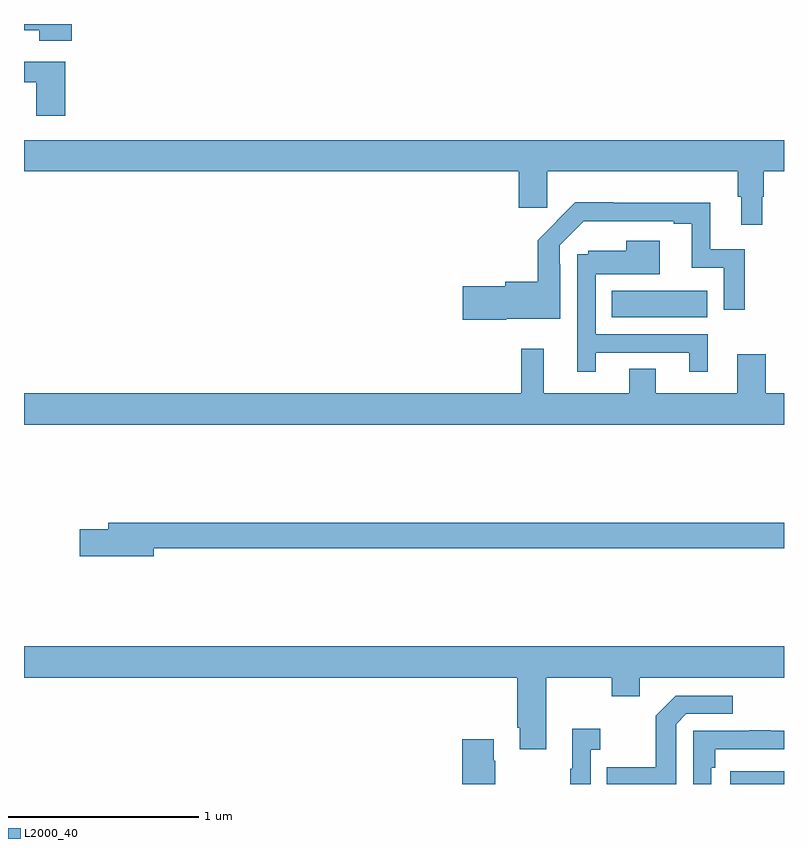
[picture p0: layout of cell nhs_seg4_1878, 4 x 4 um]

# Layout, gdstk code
import gdstk
lib = gdstk.Library(unit=1e-6, precision=1e-09)
def R(c, l, rs):  # rectangles x0, y0, x1, y1
    for r in rs: c.add(gdstk.rectangle(r[:2], r[2:], *l))
def P(c, l, *ps):  # polygons
    for p in ps: c.add(gdstk.Polygon(p, *l))
L2000_40 = (2000, 40)

nhs_seg4_1878 = lib.new_cell('nhs_seg4_1878')
R(nhs_seg4_1878, L2000_40, [(210.717,822.9,211,822.966), (210.094,825.356,210.595,825.496)])
P(nhs_seg4_1878, L2000_40, [(207.251,826.9),(207,826.9),(207,826.868),(207.08,826.868),(207.08,826.811),(207.251,826.811)],
  [(207.218,826.702),(207,826.702),(207,826.593),(207.065,826.593),(207.065,826.416),(207.218,826.416)],
  [(210.886,825.992),(210.893,825.992),(210.893,826.124),(211,826.124),(211,826.288),(207,826.288),(207,826.124),(209.603,826.124),(209.603,825.933),(209.753,825.933),(209.753,826.124),(210.757,826.124),(210.757,825.992),(210.776,825.992),(210.776,825.843),(210.886,825.843)],
  [(209.538,825.35),(209.823,825.35),(209.823,825.635),(209.82,825.635),(209.82,825.735),(209.946,825.861),(210.419,825.861),(210.419,825.849),(210.515,825.849),(210.515,825.618),(210.684,825.618),(210.684,825.396),(210.793,825.396),(210.793,825.714),(210.613,825.714),(210.613,825.958),(210.101,825.958),(210.101,825.961),(209.902,825.961),(209.705,825.763),(209.705,825.544),(209.534,825.544),(209.534,825.521),(209.31,825.521),(209.31,825.343),(209.538,825.343)],
  [(210.01,825.171),(210.5,825.171),(210.5,825.069),(210.598,825.069),(210.598,825.267),(210.009,825.267),(210.009,825.584),(210.346,825.584),(210.346,825.76),(210.17,825.76),(210.17,825.706),(209.97,825.706),(209.97,825.687),(209.913,825.687),(209.913,825.069),(210.01,825.069)],
  [(211,824.956),(210.903,824.956),(210.903,825.163),(210.755,825.163),(210.755,824.956),(210.325,824.956),(210.325,825.086),(210.185,825.086),(210.185,824.956),(209.735,824.956),(209.735,825.19),(209.617,825.19),(209.617,824.956),(207,824.956),(207,824.792),(211,824.792)],
  [(207.682,824.14),(211,824.14),(211,824.276),(207.443,824.276),(207.443,824.24),(207.294,824.24),(207.294,824.098),(207.682,824.098)],
  [(209.749,823.46),(210.094,823.46),(210.094,823.361),(210.241,823.361),(210.241,823.46),(211,823.46),(211,823.624),(207,823.624),(207,823.46),(209.597,823.46),(209.597,823.195),(209.609,823.195),(209.609,823.083),(209.749,823.083)],
  [(210.432,823.215),(210.486,823.269),(210.73,823.269),(210.73,823.365),(210.429,823.365),(210.324,823.259),(210.324,822.987),(210.067,822.987),(210.067,822.9),(210.432,822.9)],
  [(209.982,823.079),(210.034,823.079),(210.034,823.192),(209.885,823.192),(209.885,822.979),(209.874,822.979),(209.874,822.9),(209.982,822.9)],
  [(210.618,822.986),(210.638,822.986),(210.638,823.083),(211,823.083),(211,823.179),(210.929,823.179),(210.929,823.184),(210.817,823.184),(210.817,823.179),(210.522,823.179),(210.522,822.9),(210.618,822.9)],
  [(209.481,823.022),(209.473,823.022),(209.473,823.135),(209.306,823.135),(209.306,822.9),(209.481,822.9)])

lib.write_gds('nhs_seg4_1878.gds')
